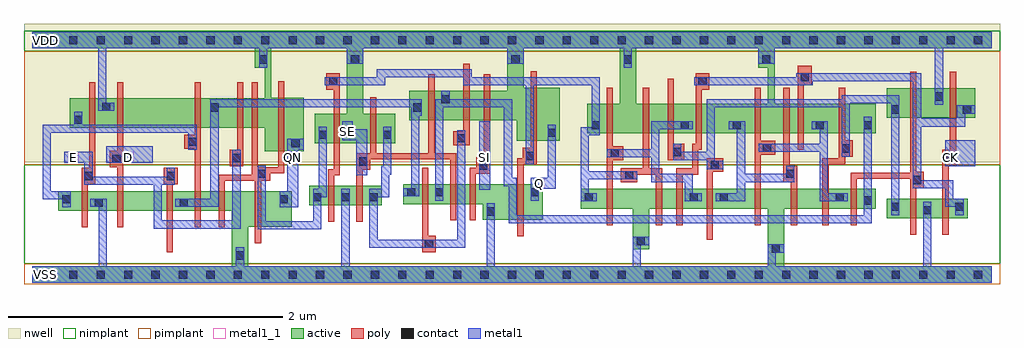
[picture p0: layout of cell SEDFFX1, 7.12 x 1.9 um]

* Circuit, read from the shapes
.subckt SEDFFX1 CK D E Q QN SE SI VDD VSS
M1 VSS E n1 VSS nfet w=0.145u l=0.045u
M2 n2 D VSS VSS nfet w=0.145u l=0.045u
M3 n3 E n2 VSS nfet w=0.145u l=0.045u
M4 n4 n1 n3 VSS nfet w=0.145u l=0.045u
M5 VSS n5 n4 VSS nfet w=0.145u l=0.045u
M6 QN n5 VSS VSS nfet w=0.26u l=0.045u
M7 VSS n6 n5 VSS nfet w=0.145u l=0.045u
M8 n7 SE VSS VSS nfet w=0.145u l=0.045u
M9 n8 n7 n3 VSS nfet w=0.145u l=0.045u
M10 n9 SE n8 VSS nfet w=0.145u l=0.045u
M11 VSS SI n9 VSS nfet w=0.145u l=0.045u
M12 Q n6 VSS VSS nfet w=0.26u l=0.045u
M13 VSS n10 n6 VSS nfet w=0.145u l=0.045u
M14 n11 n6 VSS VSS nfet w=0.145u l=0.045u
M15 n10 n12 n11 VSS nfet w=0.145u l=0.045u
M16 n13 n14 n10 VSS nfet w=0.145u l=0.045u
M17 VSS n15 n13 VSS nfet w=0.145u l=0.045u
M18 n16 n13 VSS VSS nfet w=0.145u l=0.045u
M19 n15 n14 n16 VSS nfet w=0.145u l=0.045u
M20 n8 n12 n15 VSS nfet w=0.145u l=0.045u
M21 VSS n12 n14 VSS nfet w=0.145u l=0.045u
M22 n12 CK VSS VSS nfet w=0.145u l=0.045u
M23 VDD E n1 VDD pfet w=0.215u l=0.045u
M24 n17 D VDD VDD pfet w=0.215u l=0.045u
M25 n3 n1 n17 VDD pfet w=0.215u l=0.045u
M26 n18 E n3 VDD pfet w=0.215u l=0.045u
M27 VDD n5 n18 VDD pfet w=0.215u l=0.045u
M28 QN n5 VDD VDD pfet w=0.39u l=0.045u
M29 VDD n6 n5 VDD pfet w=0.215u l=0.045u
M30 n7 SE VDD VDD pfet w=0.215u l=0.045u
M31 n8 SE n3 VDD pfet w=0.215u l=0.045u
M32 n19 n7 n8 VDD pfet w=0.215u l=0.045u
M33 VDD SI n19 VDD pfet w=0.215u l=0.045u
M34 Q n6 VDD VDD pfet w=0.39u l=0.045u
M35 VDD n10 n6 VDD pfet w=0.215u l=0.045u
M36 n20 n6 VDD VDD pfet w=0.215u l=0.045u
M37 n10 n14 n20 VDD pfet w=0.215u l=0.045u
M38 n13 n12 n10 VDD pfet w=0.215u l=0.045u
M39 VDD n15 n13 VDD pfet w=0.215u l=0.045u
M40 n21 n13 VDD VDD pfet w=0.215u l=0.045u
M41 n15 n12 n21 VDD pfet w=0.215u l=0.045u
M42 n8 n14 n15 VDD pfet w=0.215u l=0.045u
M43 VDD n12 n14 VDD pfet w=0.215u l=0.045u
M44 n12 CK VDD VDD pfet w=0.215u l=0.045u
.ends

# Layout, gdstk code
import gdstk
lib = gdstk.Library(unit=1e-6, precision=5e-10)
def R(c, l, rs):  # rectangles x0, y0, x1, y1
    for r in rs: c.add(gdstk.rectangle(r[:2], r[2:], *l))
def A(c, l, x, y, w, h, nx, ny, dx, dy):  # array of equal rectangles
    R(c, l, [(x+i*dx, y+j*dy, x+i*dx+w, y+j*dy+h) for i in range(nx) for j in range(ny)])
def P(c, l, *ps):  # polygons
    for p in ps: c.add(gdstk.Polygon(p, *l))
active = (1, 0)
nwell = (2, 0)
poly = (3, 0)
nimplant = (4, 0)
pimplant = (5, 0)
contact = (6, 0)
metal1 = (7, 0)
metal1_1 = (7, 1)

sedffx1 = lib.new_cell('SEDFFX1')
R(sedffx1, active, [(6.235,0.41,6.825,0.555), (2.02,0.505,2.55,0.65), (6.235,1.145,6.88,1.36)])
P(sedffx1, active, [(0,1.77),(7,1.77),(7,1.65),(5.415,1.65),(5.415,1.245),(6.155,1.245),(6.155,1.03),(4.05,1.03),(4.05,1.245),(4.285,1.245),(4.285,1.65),(4.405,1.65),(4.405,1.245),(5.365,1.245),(5.365,1.51),(5.295,1.51),(5.295,1.65),(3.585,1.65),(3.585,1.365),(3.85,1.365),(3.85,0.975),(3.535,0.975),(3.535,1.125),(2.75,1.125),(2.75,1.34),(3.465,1.34),(3.465,1.65),(2.415,1.65),(2.415,1.175),(2.65,1.175),(2.65,0.96),(2.06,0.96),(2.06,1.175),(2.295,1.175),(2.295,1.65),(1.745,1.65),(1.745,1.29),(1.98,1.29),(1.98,0.9),(1.695,0.9),(1.695,1.07),(0.275,1.07),(0.275,1.285),(1.695,1.285),(1.695,1.51),(1.625,1.51),(1.625,1.65),(0,1.65)],
  [(0.19,0.61),(1.895,0.61),(1.895,0.35),(1.575,0.35),(1.575,0.06),(5.365,0.06),(5.365,0.48),(4.5,0.48),(4.5,0.185),(4.38,0.185),(4.38,0.48),(4,0.48),(4,0.625),(6.155,0.625),(6.155,0.48),(5.485,0.48),(5.485,0.06),(7,0.06),(7,-0.06),(0,-0.06),(0,0.06),(1.455,0.06),(1.455,0.465),(0.19,0.465)],
  [(2.705,0.66),(3.725,0.66),(3.725,0.4),(3.285,0.4),(3.285,0.515),(2.705,0.515)])
R(sedffx1, nwell, [(-0.06,0.82,7.06,1.83)])
P(sedffx1, poly, [(1.6,1.405),(1.645,1.405),(1.645,0.785),(1.795,0.785),(1.795,1.41),(1.84,1.41),(1.84,0.74),(1.735,0.74),(1.735,0.685),(1.67,0.685),(1.67,0.23),(1.625,0.23),(1.625,0.685),(1.405,0.685),(1.405,0.345),(1.36,0.345),(1.36,0.73),(1.6,0.73)],
  [(2.145,1.47),(2.245,1.47),(2.245,0.725),(2.205,0.725),(2.205,0.385),(2.16,0.385),(2.16,0.77),(2.2,0.77),(2.2,1.35),(2.145,1.35)],
  [(0.415,1.405),(0.46,1.405),(0.46,0.66),(0.405,0.66),(0.405,0.345),(0.36,0.345),(0.36,0.78),(0.415,0.78)],
  [(0.62,1.405),(0.665,1.405),(0.665,0.345),(0.62,0.345),(0.62,0.785),(0.565,0.785),(0.565,0.905),(0.62,0.905)],
  [(1.185,1.405),(1.23,1.405),(1.23,0.345),(1.185,0.345),(1.185,0.92),(1.11,0.92),(1.11,1.02),(1.185,1.02)],
  [(1.495,1.405),(1.54,1.405),(1.54,0.79),(1.44,0.79),(1.44,0.91),(1.495,0.91)],
  [(2.465,1.295),(2.51,1.295),(2.51,0.885),(2.89,0.885),(2.89,1.46),(2.935,1.46),(2.935,0.885),(3.095,0.885),(3.095,0.395),(3.05,0.395),(3.05,0.84),(2.465,0.84),(2.465,0.765),(2.41,0.765),(2.41,0.385),(2.365,0.385),(2.365,0.885),(2.465,0.885)],
  [(3.145,1.54),(3.19,1.54),(3.19,0.945),(3.07,0.945),(3.07,1.045),(3.145,1.045)],
  [(3.295,1.46),(3.34,1.46),(3.34,0.735),(3.235,0.735),(3.235,0.395),(3.19,0.395),(3.19,0.78),(3.24,0.78),(3.24,0.855),(3.295,0.855)],
  [(3.635,1.485),(3.68,1.485),(3.68,0.805),(3.585,0.805),(3.585,0.28),(3.54,0.28),(3.54,0.85),(3.58,0.85),(3.58,0.925),(3.635,0.925)],
  [(4.19,1.365),(4.235,1.365),(4.235,0.935),(4.31,0.935),(4.31,0.835),(4.235,0.835),(4.235,0.36),(4.19,0.36)],
  [(4.84,1.47),(4.94,1.47),(4.94,1.35),(4.885,1.35),(4.885,0.91),(4.86,0.91),(4.86,0.73),(4.745,0.73),(4.745,0.36),(4.7,0.36),(4.7,0.775),(4.815,0.775),(4.815,0.955),(4.84,0.955)],
  [(4.455,1.365),(4.5,1.365),(4.5,0.775),(4.595,0.775),(4.595,0.36),(4.55,0.36),(4.55,0.73),(4.415,0.73),(4.415,0.675),(4.295,0.675),(4.295,0.775),(4.455,0.775)],
  [(4.635,1.43),(4.68,1.43),(4.68,0.955),(4.755,0.955),(4.755,0.835),(4.635,0.835)],
  [(5.27,1.365),(5.315,1.365),(5.315,0.975),(5.42,0.975),(5.42,0.875),(5.315,0.875),(5.315,0.36),(5.27,0.36)],
  [(5.585,1.525),(5.685,1.525),(5.685,1.38),(5.63,1.38),(5.63,0.91),(5.585,0.91)],
  [(5.48,1.365),(5.525,1.365),(5.525,0.795),(5.58,0.795),(5.58,0.36),(5.535,0.36),(5.535,0.675),(5.48,0.675)],
  [(5.885,1.365),(5.93,1.365),(5.93,0.98),(5.985,0.98),(5.985,0.86),(5.93,0.86),(5.93,0.805),(5.81,0.805),(5.81,0.36),(5.765,0.36),(5.765,0.85),(5.885,0.85)],
  [(6.405,1.48),(6.45,1.48),(6.45,0.75),(6.505,0.75),(6.505,0.63),(6.45,0.63),(6.45,0.29),(6.405,0.29),(6.405,0.7),(6.015,0.7),(6.015,0.36),(5.97,0.36),(5.97,0.745),(6.405,0.745)],
  [(6.695,1.48),(6.74,1.48),(6.74,0.79),(6.685,0.79),(6.685,0.29),(6.64,0.29),(6.64,0.91),(6.695,0.91)],
  [(0.96,0.78),(1.06,0.78),(1.06,0.66),(1.025,0.66),(1.025,0.165),(0.98,0.165),(0.98,0.66),(0.96,0.66)],
  [(4.92,0.85),(5.04,0.85),(5.04,0.75),(4.965,0.75),(4.965,0.255),(4.92,0.255)],
  [(2.845,0.78),(2.89,0.78),(2.89,0.285),(2.945,0.285),(2.945,0.165),(2.845,0.165)])
R(sedffx1, nimplant, [(-0.06,0.08,7.06,0.8), (-0.06,1.63,7.06,1.78)])
R(sedffx1, pimplant, [(-0.06,-0.07,7.06,0.08), (-0.06,0.8,7.06,1.63)])
A(sedffx1, contact, 0.07, -0.03, 0.06, 0.06, 35, 2, 0.2, 1.71)
A(sedffx1, contact, 2.05, 0.535, 0.06, 0.06, 3, 1, 0.205, 0)
R(sedffx1, contact, [(1.485,0.11,1.545,0.17), (5.395,0.16,5.455,0.22), (2.865,0.195,2.925,0.255), (4.41,0.215,4.47,0.275), (3.315,0.43,3.375,0.49), (6.5,0.44,6.56,0.5), (6.265,0.465,6.325,0.525), (6.735,0.465,6.795,0.525), (0.455,0.495,0.515,0.555), (1.075,0.495,1.135,0.555), (6.065,0.51,6.125,0.57), (0.22,0.52,0.28,0.58), (1.805,0.52,1.865,0.58), (4.03,0.535,4.09,0.595), (4.795,0.535,4.855,0.595), (5.015,0.535,5.075,0.595), (5.86,0.535,5.92,0.595), (2.735,0.57,2.795,0.63), (2.94,0.57,3,0.63), (3.635,0.57,3.695,0.63), (6.425,0.66,6.485,0.72), (0.38,0.69,0.44,0.75), (0.98,0.69,1.04,0.75), (4.325,0.695,4.385,0.755), (1.645,0.705,1.705,0.765), (5.5,0.705,5.56,0.765), (3.26,0.765,3.32,0.825), (4.95,0.77,5.01,0.83), (2.385,0.795,2.445,0.855), (0.585,0.815,0.645,0.875), (1.46,0.82,1.52,0.88), (6.66,0.82,6.72,0.88), (3.6,0.835,3.66,0.895), (4.22,0.855,4.28,0.915), (4.675,0.865,4.735,0.925), (5.905,0.89,5.965,0.95), (5.33,0.895,5.39,0.955), (1.89,0.93,1.95,0.99), (1.14,0.94,1.2,1), (3.1,0.965,3.16,1.025), (2.09,0.99,2.15,1.05), (2.56,0.99,2.62,1.05), (3.76,1.005,3.82,1.065), (4.08,1.06,4.14,1.12), (4.73,1.06,4.79,1.12), (5.11,1.06,5.17,1.12), (5.715,1.06,5.775,1.12), (6.065,1.06,6.125,1.12), (0.305,1.1,0.365,1.16), (6.265,1.175,6.325,1.235), (6.79,1.175,6.85,1.235), (1.3,1.19,1.36,1.25), (2.78,1.19,2.84,1.25), (0.51,1.195,0.57,1.255), (2.985,1.25,3.045,1.31), (6.585,1.27,6.645,1.33), (2.165,1.38,2.225,1.44), (4.86,1.38,4.92,1.44), (5.605,1.41,5.665,1.47), (1.655,1.54,1.715,1.6), (2.325,1.54,2.385,1.6), (3.495,1.54,3.555,1.6), (4.315,1.54,4.375,1.6), (5.325,1.54,5.385,1.6)])
R(sedffx1, metal1, [(3.26,0.62,3.34,1.12), (6.66,0.79,6.88,0.98), (0.54,0.815,0.88,0.935)])
P(sedffx1, metal1, [(0,1.77),(7,1.77),(7,1.65),(6.645,1.65),(6.645,1.24),(6.585,1.24),(6.585,1.65),(5.415,1.65),(5.415,1.54),(5.295,1.54),(5.295,1.65),(4.375,1.65),(4.375,1.51),(4.315,1.51),(4.315,1.65),(3.585,1.65),(3.585,1.54),(3.465,1.54),(3.465,1.65),(2.415,1.65),(2.415,1.54),(2.295,1.54),(2.295,1.65),(1.715,1.65),(1.715,1.51),(1.655,1.51),(1.655,1.65),(0.54,1.65),(0.54,1.255),(0.6,1.255),(0.6,1.195),(0.48,1.195),(0.48,1.65),(0,1.65)],
  [(2.515,1.5),(3.205,1.5),(3.205,1.44),(4.14,1.44),(4.14,1.015),(4.06,1.015),(4.06,0.755),(4.415,0.755),(4.415,0.695),(4.06,0.695),(4.06,0.595),(4.12,0.595),(4.12,0.535),(4,0.535),(4,1.075),(4.08,1.075),(4.08,1.38),(3.66,1.38),(3.66,0.805),(3.6,0.805),(3.6,1.38),(3.145,1.38),(3.145,1.44),(2.575,1.44),(2.575,1.38),(2.135,1.38),(2.135,1.44),(2.515,1.44)],
  [(5.575,1.47),(6.485,1.47),(6.485,1.14),(6.745,1.14),(6.745,1.235),(6.88,1.235),(6.88,1.175),(6.805,1.175),(6.805,1.08),(6.485,1.08),(6.485,0.69),(6.72,0.69),(6.72,0.555),(6.795,0.555),(6.795,0.435),(6.735,0.435),(6.735,0.495),(6.66,0.495),(6.66,0.63),(6.425,0.63),(6.425,1.41),(5.695,1.41),(5.695,1.38),(4.83,1.38),(4.83,1.44),(5.575,1.44)],
  [(1.3,1.28),(2.84,1.28),(2.84,1.16),(2.825,1.16),(2.825,0.57),(2.705,0.57),(2.705,0.63),(2.765,0.63),(2.765,1.22),(1.36,1.22),(1.36,0.495),(1.045,0.495),(1.045,0.555),(1.3,0.555)],
  [(0.305,1.19),(0.365,1.19),(0.365,1.095),(1.2,1.095),(1.2,0.91),(1.14,0.91),(1.14,1.035),(0.135,1.035),(0.135,0.61),(0.28,0.61),(0.28,0.49),(0.22,0.49),(0.22,0.55),(0.075,0.55),(0.075,1.095),(0.305,1.095)],
  [(2.985,1.34),(3.045,1.34),(3.045,1.28),(3.5,1.28),(3.5,0.705),(3.535,0.705),(3.535,0.435),(6.065,0.435),(6.065,1.15),(6.125,1.15),(6.125,0.375),(3.475,0.375),(3.475,0.645),(3.44,0.645),(3.44,1.22),(3,1.22),(3,0.54),(2.94,0.54),(2.94,1.28),(2.985,1.28)],
  [(0.235,0.895),(0.44,0.895),(0.44,0.715),(0.98,0.715),(0.98,0.78),(1.04,0.78),(1.04,0.655),(0.945,0.655),(0.945,0.395),(1.46,0.395),(1.46,0.91),(1.52,0.91),(1.52,0.335),(0.885,0.335),(0.885,0.655),(0.38,0.655),(0.38,0.815),(0.235,0.815)],
  [(0.425,0.555),(0.545,0.555),(0.545,0.06),(1.485,0.06),(1.485,0.2),(1.545,0.2),(1.545,0.06),(2.255,0.06),(2.255,0.625),(2.315,0.625),(2.315,0.06),(3.315,0.06),(3.315,0.52),(3.375,0.52),(3.375,0.06),(4.38,0.06),(4.38,0.275),(4.5,0.275),(4.5,0.215),(4.44,0.215),(4.44,0.06),(5.365,0.06),(5.365,0.22),(5.485,0.22),(5.485,0.16),(5.425,0.16),(5.425,0.06),(6.5,0.06),(6.5,0.53),(6.56,0.53),(6.56,0.06),(7,0.06),(7,-0.06),(0,-0.06),(0,0.06),(0.485,0.06),(0.485,0.495),(0.425,0.495)],
  [(1.86,0.99),(1.98,0.99),(1.98,0.91),(1.94,0.91),(1.94,0.49),(1.805,0.49),(1.805,0.61),(1.86,0.61)],
  [(1.645,0.795),(1.705,0.795),(1.705,0.39),(2.05,0.39),(2.05,0.625),(2.09,0.625),(2.09,1.08),(2.15,1.08),(2.15,0.565),(2.11,0.565),(2.11,0.33),(1.645,0.33)],
  [(2.56,1.08),(2.62,1.08),(2.62,0.73),(2.605,0.73),(2.605,0.565),(2.52,0.565),(2.52,0.255),(3.1,0.255),(3.1,1.055),(3.16,1.055),(3.16,0.195),(2.46,0.195),(2.46,0.625),(2.545,0.625),(2.545,0.79),(2.56,0.79)],
  [(2.26,1.12),(2.34,1.12),(2.34,1.06),(2.445,1.06),(2.445,0.725),(2.365,0.725),(2.365,0.98),(2.26,0.98)],
  [(3.76,1.095),(3.82,1.095),(3.82,0.625),(3.695,0.625),(3.695,0.54),(3.635,0.54),(3.635,0.705),(3.76,0.705)],
  [(5.905,1.31),(6.325,1.31),(6.325,0.435),(6.265,0.435),(6.265,1.25),(5.965,1.25),(5.965,0.86),(5.905,0.86),(5.905,1.22),(4.98,1.22),(4.98,0.83),(5.04,0.83),(5.04,0.77),(4.92,0.77),(4.92,0.835),(4.675,0.835),(4.675,0.955),(4.735,0.955),(4.735,0.895),(4.92,0.895),(4.92,1.28),(5.905,1.28)],
  [(4.515,1.12),(4.82,1.12),(4.82,1.06),(4.575,1.06),(4.575,0.735),(4.82,0.735),(4.82,0.595),(4.885,0.595),(4.885,0.535),(4.76,0.535),(4.76,0.675),(4.515,0.675),(4.515,0.855),(4.19,0.855),(4.19,0.915),(4.515,0.915)],
  [(5.08,1.12),(5.2,1.12),(5.2,0.735),(5.5,0.735),(5.5,0.795),(5.56,0.795),(5.56,0.675),(5.2,0.675),(5.2,0.535),(4.985,0.535),(4.985,0.595),(5.14,0.595),(5.14,1.06),(5.08,1.06)],
  [(5.685,1.12),(5.805,1.12),(5.805,0.595),(5.95,0.595),(5.95,0.535),(5.745,0.535),(5.745,0.895),(5.3,0.895),(5.3,0.955),(5.745,0.955),(5.745,1.06),(5.685,1.06)])
R(sedffx1, metal1_1, [(0.06,-0.04,0.14,0.04), (3.66,0.625,3.74,0.705), (0.26,0.815,0.34,0.895), (0.66,0.815,0.74,0.895), (1.86,0.815,1.94,0.895), (3.26,0.815,3.34,0.895), (6.66,0.815,6.74,0.895), (2.26,1.005,2.34,1.085), (0.06,1.67,0.14,1.75)])
sedffx1.add(gdstk.Label('Q', (3.7,0.665), layer=7, texttype=1))
sedffx1.add(gdstk.Label('QN', (1.9,0.855), layer=7, texttype=1))
sedffx1.add(gdstk.Label('CK', (6.7,0.855), layer=7, texttype=1))
sedffx1.add(gdstk.Label('SI', (3.3,0.855), layer=7, texttype=1))
sedffx1.add(gdstk.Label('SE', (2.3,1.045), layer=7, texttype=1))
sedffx1.add(gdstk.Label('D', (0.7,0.855), layer=7, texttype=1))
sedffx1.add(gdstk.Label('E', (0.3,0.855), layer=7, texttype=1))
sedffx1.add(gdstk.Label('VDD', (0.1,1.71), layer=7, texttype=1))
sedffx1.add(gdstk.Label('VSS', (0.1,0), layer=7, texttype=1))
sedffx1.add(gdstk.Label('SEDFFX1', (0,0), layer=63, texttype=0))

lib.write_gds('SEDFFX1.gds')
